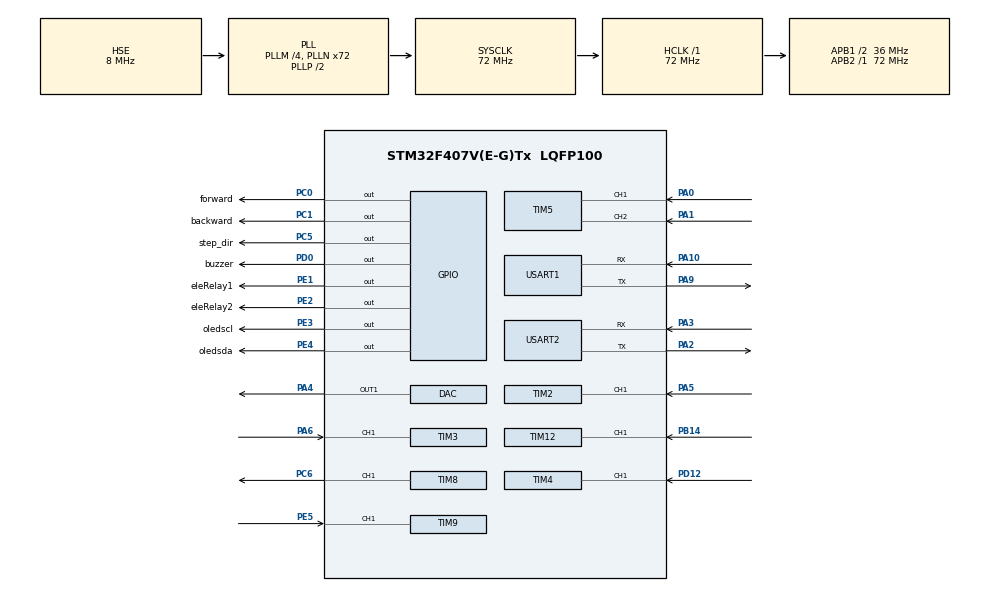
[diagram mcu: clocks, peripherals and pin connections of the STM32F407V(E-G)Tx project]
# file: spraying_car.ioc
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DAC.DAC_OutputBuffer=DAC_OUTPUTBUFFER_DISABLE
DAC.DAC_Trigger=DAC_TRIGGER_NONE
Dma.Request0=USART1_TX
Dma.Request1=USART1_RX
Dma.Request2=USART2_RX
Dma.Request3=USART2_TX
Dma.USART1_RX.1.Direction=DMA_PERIPH_TO_MEMORY
Dma.USART1_RX.1.FIFOMode=DMA_FIFOMODE_DISABLE
Dma.USART1_RX.1.Instance=DMA2_Stream2
Dma.USART1_RX.1.MemDataAlignment=DMA_MDATAALIGN_BYTE
Dma.USART1_RX.1.MemInc=DMA_MINC_ENABLE
Dma.USART1_RX.1.Mode=DMA_NORMAL
Dma.USART1_RX.1.PeriphDataAlignment=DMA_PDATAALIGN_BYTE
Dma.USART1_RX.1.PeriphInc=DMA_PINC_DISABLE
Dma.USART1_RX.1.Priority=DMA_PRIORITY_LOW
Dma.USART1_TX.0.Direction=DMA_MEMORY_TO_PERIPH
Dma.USART1_TX.0.FIFOMode=DMA_FIFOMODE_DISABLE
Dma.USART1_TX.0.Instance=DMA2_Stream7
Dma.USART1_TX.0.MemDataAlignment=DMA_MDATAALIGN_BYTE
Dma.USART1_TX.0.MemInc=DMA_MINC_ENABLE
Dma.USART1_TX.0.Mode=DMA_NORMAL
Dma.USART1_TX.0.PeriphDataAlignment=DMA_PDATAALIGN_BYTE
Dma.USART1_TX.0.PeriphInc=DMA_PINC_DISABLE
Dma.USART1_TX.0.Priority=DMA_PRIORITY_LOW
Dma.USART2_RX.2.Direction=DMA_PERIPH_TO_MEMORY
Dma.USART2_RX.2.FIFOMode=DMA_FIFOMODE_DISABLE
Dma.USART2_RX.2.Instance=DMA1_Stream5
Dma.USART2_RX.2.MemDataAlignment=DMA_MDATAALIGN_BYTE
Dma.USART2_RX.2.MemInc=DMA_MINC_ENABLE
Dma.USART2_RX.2.Mode=DMA_NORMAL
Dma.USART2_RX.2.PeriphDataAlignment=DMA_PDATAALIGN_BYTE
Dma.USART2_RX.2.PeriphInc=DMA_PINC_DISABLE
Dma.USART2_RX.2.Priority=DMA_PRIORITY_LOW
Dma.USART2_TX.3.Direction=DMA_MEMORY_TO_PERIPH
Dma.USART2_TX.3.FIFOMode=DMA_FIFOMODE_DISABLE
Dma.USART2_TX.3.Instance=DMA1_Stream6
Dma.USART2_TX.3.MemDataAlignment=DMA_MDATAALIGN_BYTE
Dma.USART2_TX.3.MemInc=DMA_MINC_ENABLE
Dma.USART2_TX.3.Mode=DMA_NORMAL
Dma.USART2_TX.3.PeriphDataAlignment=DMA_PDATAALIGN_BYTE
Dma.USART2_TX.3.PeriphInc=DMA_PINC_DISABLE
Dma.USART2_TX.3.Priority=DMA_PRIORITY_LOW
Mcu.Family=STM32F4
Mcu.Name=STM32F407V(E-G)Tx
Mcu.Package=LQFP100
NVIC.DMA1_Stream5_IRQn=true\:0\:0\:false\:false\:true\:false\:true\:true
NVIC.DMA1_Stream6_IRQn=true\:0\:0\:false\:false\:true\:false\:true\:true
NVIC.DMA2_Stream2_IRQn=true\:0\:0\:false\:false\:true\:false\:true\:true
NVIC.DMA2_Stream7_IRQn=true\:0\:0\:false\:false\:true\:false\:true\:true
NVIC.PriorityGroup=NVIC_PRIORITYGROUP_4
NVIC.TIM8_CC_IRQn=true\:2\:0\:true\:false\:true\:true\:true\:true
NVIC.TIM8_UP_TIM13_IRQn=true\:2\:0\:true\:false\:true\:true\:true\:true
NVIC.USART1_IRQn=true\:1\:0\:true\:false\:true\:true\:true\:true
NVIC.USART2_IRQn=true\:1\:0\:true\:false\:true\:true\:true\:true
PA0-WKUP.Signal=S_TIM5_CH1
PA1.Signal=S_TIM5_CH2
PA10.Mode=Asynchronous
PA10.Signal=USART1_RX
PA13.Mode=Serial_Wire
PA13.Signal=SYS_JTMS-SWDIO
PA14.Mode=Serial_Wire
PA14.Signal=SYS_JTCK-SWCLK
PA2.Mode=Asynchronous
PA2.Signal=USART2_TX
PA3.Mode=Asynchronous
PA3.Signal=USART2_RX
PA4.Signal=COMP_DAC1_group
PA5.Signal=S_TIM2_CH1_ETR
PA6.Signal=S_TIM3_CH1
PA9.Mode=Asynchronous
PA9.Signal=USART1_TX
PB14.Signal=S_TIM12_CH1
PC0.GPIO_Label=forward
PC0.GPIO_PuPd=GPIO_NOPULL
PC0.PinState=GPIO_PIN_RESET
PC0.Signal=GPIO_Output
PC1.GPIO_Label=backward
PC1.GPIO_ModeDefaultOutputPP=GPIO_MODE_OUTPUT_PP
PC1.Signal=GPIO_Output
PC5.GPIO_Label=step_dir
PC5.Signal=GPIO_Output
PC6.GPIO_Speed=GPIO_SPEED_FREQ_HIGH
PC6.Signal=S_TIM8_CH1
PD0.GPIO_Label=buzzer
PD0.GPIO_PuPd=GPIO_NOPULL
PD0.PinState=GPIO_PIN_SET
PD0.Signal=GPIO_Output
PD12.Signal=S_TIM4_CH1
PE1.GPIO_Label=eleRelay1
PE1.GPIO_PuPd=GPIO_NOPULL
PE1.Signal=GPIO_Output
PE2.GPIO_Label=eleRelay2
PE2.GPIO_ModeDefaultOutputPP=GPIO_MODE_OUTPUT_PP
PE2.GPIO_PuPd=GPIO_NOPULL
PE2.Signal=GPIO_Output
PE3.GPIO_Label=oledscl
PE3.GPIO_ModeDefaultOutputPP=GPIO_MODE_OUTPUT_OD
PE3.GPIO_PuPd=GPIO_NOPULL
PE3.GPIO_Speed=GPIO_SPEED_FREQ_LOW
PE3.PinState=GPIO_PIN_SET
PE3.Signal=GPIO_Output
PE4.GPIO_Label=oledsda
PE4.GPIO_ModeDefaultOutputPP=GPIO_MODE_OUTPUT_OD
PE4.GPIO_PuPd=GPIO_NOPULL
PE4.GPIO_Speed=GPIO_SPEED_FREQ_LOW
PE4.PinState=GPIO_PIN_SET
PE4.Signal=GPIO_Output
PE5.Signal=S_TIM9_CH1
PH0-OSC_IN.Mode=HSE-External-Oscillator
PH0-OSC_IN.Signal=RCC_OSC_IN
PH1-OSC_OUT.Mode=HSE-External-Oscillator
PH1-OSC_OUT.Signal=RCC_OSC_OUT
ProjectManager.HeapSize=0x200
ProjectManager.StackSize=0x400
ProjectManager.TargetToolchain=MDK-ARM V5.32
RCC.48MHZClocksFreq_Value=36000000
RCC.AHBFreq_Value=72000000
RCC.APB1CLKDivider=RCC_HCLK_DIV2
RCC.APB1Freq_Value=36000000
RCC.APB1TimFreq_Value=72000000
RCC.APB2Freq_Value=72000000
RCC.APB2TimFreq_Value=72000000
RCC.CortexFreq_Value=72000000
RCC.EnbaleCSS=true
RCC.HCLKFreq_Value=72000000
RCC.HSE_VALUE=8000000
RCC.HSI_VALUE=16000000
RCC.LSE_VALUE=32768
RCC.PLLM=4
RCC.PLLN=72
RCC.PLLSourceVirtual=RCC_PLLSOURCE_HSE
RCC.SYSCLKFreq_VALUE=72000000
RCC.SYSCLKSource=RCC_SYSCLKSOURCE_PLLCLK
RCC.VCOOutputFreq_Value=144000000
SH.COMP_DAC1_group.0=DAC_OUT1,DAC_OUT1
SH.S_TIM12_CH1.0=TIM12_CH1,TriggerSource_TI1FP1
SH.S_TIM12_CH1.1=TIM12_CH1,Input_Capture1_from_TI1
SH.S_TIM2_CH1_ETR.0=TIM2_CH1,Input_Capture1_from_TI1
SH.S_TIM2_CH1_ETR.1=TIM2_CH1,TriggerSource_TI1FP1
SH.S_TIM3_CH1.0=TIM3_CH1,TriggerSource_TI1FP1
SH.S_TIM3_CH1.1=TIM3_CH1,Input_Capture1_from_TI1
SH.S_TIM4_CH1.0=TIM4_CH1,TriggerSource_TI1FP1
SH.S_TIM4_CH1.1=TIM4_CH1,Input_Capture1_from_TI1
SH.S_TIM5_CH1.0=TIM5_CH1,Encoder_Interface
SH.S_TIM5_CH2.0=TIM5_CH2,Encoder_Interface
SH.S_TIM8_CH1.0=TIM8_CH1,PWM Generation1 CH1
SH.S_TIM9_CH1.0=TIM9_CH1,Input_Capture1_from_TI1
SH.S_TIM9_CH1.1=TIM9_CH1,TriggerSource_TI1FP1
TIM12.AutoReloadPreload=TIM_AUTORELOAD_PRELOAD_ENABLE
TIM12.Channel-Input_Capture1_from_TI1=TIM_CHANNEL_1
TIM12.Channel-Input_Capture2_from_TI1_63=TIM_CHANNEL_2
TIM12.ICPolarity_CH2=TIM_INPUTCHANNELPOLARITY_FALLING
TIM12.Prescaler=71
TIM2.AutoReloadPreload=TIM_AUTORELOAD_PRELOAD_ENABLE
TIM2.Channel-Input_Capture1_from_TI1=TIM_CHANNEL_1
TIM2.Channel-Input_Capture2_from_TI1_63=TIM_CHANNEL_2
TIM2.ICPolarity_CH2=TIM_INPUTCHANNELPOLARITY_FALLING
TIM2.Period=65535
TIM2.Prescaler=71
TIM3.AutoReloadPreload=TIM_AUTORELOAD_PRELOAD_ENABLE
TIM3.Channel-Input_Capture1_from_TI1=TIM_CHANNEL_1
TIM3.Channel-Input_Capture2_from_TI1_63=TIM_CHANNEL_2
TIM3.ICPolarity_CH2=TIM_INPUTCHANNELPOLARITY_FALLING
TIM3.Prescaler=71
TIM4.AutoReloadPreload=TIM_AUTORELOAD_PRELOAD_ENABLE
TIM4.Channel-Input_Capture1_from_TI1=TIM_CHANNEL_1
TIM4.Channel-Input_Capture2_from_TI1_63=TIM_CHANNEL_2
TIM4.ICPolarity_CH2=TIM_INPUTCHANNELPOLARITY_FALLING
TIM4.Prescaler=71
TIM5.EncoderMode=TIM_ENCODERMODE_TI12
TIM5.IC1Filter=15
TIM5.IC2Filter=15
TIM8.AutoReloadPreload=TIM_AUTORELOAD_PRELOAD_ENABLE
TIM8.Channel-PWM\ Generation1\ CH1=TIM_CHANNEL_1
TIM8.Period=50-1
TIM8.Prescaler=72-1
TIM8.Pulse-PWM\ Generation1\ CH1=25-1
TIM8.RepetitionCounter=0
TIM9.AutoReloadPreload=TIM_AUTORELOAD_PRELOAD_ENABLE
TIM9.Channel-Input_Capture1_from_TI1=TIM_CHANNEL_1
TIM9.Channel-Input_Capture2_from_TI1_63=TIM_CHANNEL_2
TIM9.ICPolarity_CH2=TIM_INPUTCHANNELPOLARITY_FALLING
TIM9.Prescaler=71
USART1.VirtualMode=VM_ASYNC
USART2.VirtualMode=VM_ASYNC
VP_TIM12_VS_ClockSourceINT.Mode=Internal
VP_TIM12_VS_ControllerModeReset.Mode=Reset Mode
VP_TIM12_VS_indirect_ch1.Mode=Input_Capture2_from_TI1_63
VP_TIM2_VS_ClockSourceINT.Mode=Internal
VP_TIM2_VS_ControllerModeReset.Mode=Reset Mode
VP_TIM2_VS_indirect_ch1.Mode=Input_Capture2_from_TI1_63
VP_TIM3_VS_ClockSourceINT.Mode=Internal
VP_TIM3_VS_ControllerModeReset.Mode=Reset Mode
VP_TIM3_VS_indirect_ch1.Mode=Input_Capture2_from_TI1_63
VP_TIM4_VS_ClockSourceINT.Mode=Internal
VP_TIM4_VS_ControllerModeReset.Mode=Reset Mode
VP_TIM4_VS_indirect_ch1.Mode=Input_Capture2_from_TI1_63
VP_TIM8_VS_ClockSourceINT.Mode=Internal
VP_TIM9_VS_ClockSourceINT.Mode=Internal
VP_TIM9_VS_ControllerModeReset.Mode=Reset Mode
VP_TIM9_VS_indirect_ch1.Mode=Input_Capture2_from_TI1_63
board=custom

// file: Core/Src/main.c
/* USER CODE BEGIN Header */
/**
  ******************************************************************************
  * @file           : main.c
  * @brief          : Main program body
  ******************************************************************************
  * @attentio n
  *
  * Copyright (c) 2024 STMicroelectronics.
  * All rights reserved.
  *
  * This software is licensed under terms that can be found in the LICENSE file
  * in the root.                                                           directory of this software component.
  * If no LICENSE file comes with this software, it is provided AS-IS.
  *
  ******************************************************************************
  */
/* USER CODE END Header */
#include "main.h"
#include "dac.h"
#include "dma.h"
#include "tim.h"
#include "usart.h"
#include "gpio.h"

/* USER CODE BEGIN Includes */
#include "OLED.h"
#include "Remote_control.h"
#include "car_drive.h"
#include "string.h"
#include "Encoder.h"
#include "turn.h"
#include "upper.h"
/* USER CODE END Includes */

/* USER CODE BEGIN PV */
volatile uint8_t is_open = 0;   // 0: 关闭, 1: 打开
volatile uint8_t CH3,CH4,CH5,CH6,CH7; // 用于存储遥控器的值
volatile int16_t ECD;  // 用于存储编码器的值
uint8_t prev_CH3 = 0, prev_CH4 = 0,prev_CH5 = 0, prev_CH6 = 0,prev_CH7 = 0;     // 用于存储上一次的值
/* USER CODE END PV */

void SystemClock_Config(void);

/* USER CODE BEGIN 0 */
/**
  * @brief  控制继电器和蜂鸣器
  * @param  Gpiox: GPIOx的值
  * @param  GPIO_Pin: GPIO_Pin的值
  * @param  PinState: GPIO_PinState的值
  * @retval None
  */
void handle_relay_and_buzzer(GPIO_TypeDef* GPIOx, uint16_t GPIO_Pin, GPIO_PinState PinState) {
    // 响蜂鸣器加延时，然后控制继电器
    // 这里可以添加蜂鸣器和延时的代码
    HAL_GPIO_WritePin(buzzer_GPIO_Port,buzzer_Pin, GPIO_PIN_RESET);  // 蜂鸣器响
    HAL_Delay(500);  // 延时100ms
    HAL_GPIO_WritePin(buzzer_GPIO_Port,buzzer_Pin, GPIO_PIN_SET);  // 蜂鸣不响
    // 控制继电器的状态
    HAL_GPIO_WritePin(GPIOx, GPIO_Pin, PinState);
}
/**
  * @brief  检查CH3和CH4的值，如果CH3为1且CH4为expected_CH4，则切换继电器状态
  * @param  CH3: CH3的值
  * @param  CH4: CH4的值
  * @param  expected_CH4: CH4的期望值,也就是靠左还是右
  * @param  switchFlag: 用于判断是否长按的计数器
  * @param  is_open: 继电器的状态
  * @retval None
  */
void check_and_toggle_relay(uint8_t expected_CH4, uint8_t* switchFlag, volatile uint8_t* is_open) {
    GPIO_PinState newState;
    CH3 = CH3_GetDuty();  // 获取CH3的值
    CH4 = CH4_GetDuty();  // 获取CH4的值
    if (CH3 == 1 && CH4 == expected_CH4) {
        (*switchFlag)++;
    } else {
        *switchFlag = 0;  // 重置计数器
    }

    if (*switchFlag == 50) {    // 长按2秒
        newState = *is_open ? GPIO_PIN_RESET : GPIO_PIN_SET;
        handle_relay_and_buzzer(eleRelay1_GPIO_Port, eleRelay1_Pin, newState);
        *is_open = !(*is_open);  // 切换状态
        *switchFlag = 0;  // 重置计数器
        }
}

void update_oled_display(uint8_t CH3, uint8_t CH4, uint8_t CH5, uint8_t CH6,uint8_t CH7) {
    if (CH3 != prev_CH3) {
        OLED_ShowNum(24, 0, CH3, 4, OLED_6X8);
        prev_CH3 = CH3;
    }
    if (CH4 != prev_CH4) {
        OLED_ShowNum(24, 8, CH4, 4, OLED_6X8);
        prev_CH4 = CH4;
    }
    if (CH5 != prev_CH5) {
        OLED_ShowNum(24, 16, CH5, 4, OLED_6X8);
        prev_CH5 = CH5;
    }
    if (CH6 != prev_CH6) {
        OLED_ShowNum(24, 24, CH6, 4, OLED_6X8);
        prev_CH6 = CH6;
    }
    if (CH7 != prev_CH7) {
        OLED_ShowNum(24, 32, CH7, 4, OLED_6X8);
        prev_CH7 = CH7;
    }
    OLED_Update();
}
/* USER CODE END 0 */

int main(void)
{

  /* USER CODE BEGIN 1 */
  uint8_t switchFlag = 0;   // 用于判断是否长按

  /* USER CODE END 1 */

  /* MCU Configuration--------------------------------------------------------*/

  /* Reset of all peripherals, Initializes the Flash interface and the Systick. */
  HAL_Init();

  /* Configure the system clock */
  SystemClock_Config();

  /* Initialize all configured peripherals */
  MX_GPIO_Init();
  MX_DMA_Init();
  MX_DAC_Init();
  MX_TIM9_Init();
  MX_TIM12_Init();
  MX_TIM2_Init();
  MX_TIM3_Init();
  MX_USART1_UART_Init();
  MX_USART2_UART_Init();
  MX_TIM4_Init();
  MX_TIM8_Init();
  MX_TIM5_Init();
  /* USER CODE BEGIN 2 */
  // 首先初始化OLED，显示启动信息
  OLED_Init();
  OLED_Clear();
  OLED_ShowString(0, 0, "System Starting...", OLED_6X8);
  OLED_Update();
  HAL_Delay(1000);  // 延时1秒显示启动信息

  Uart_Rxopen(&huart1);  // 重新开启串口接收中断，参数为想要开启的串口号
  // Uart_Rxopen(&huart2);  // 重新开启串口接收中断，参数为想要开启的串口号
  CH_Init();
  Car_Init();   // 初始化小车启动dac
  Encoder_open();  // 初始化编码器
  Step_Motor_Init();  // 初始化步进电机
  upper_init();  // 初始化上位机通信
  __HAL_TIM_SET_COUNTER(&htim5, 0);  //清零编码器值
  /* USER CODE END 2 */

  /* Infinite loop */
  /* USER CODE BEGIN WHILE */
  // OLED_ShowString(0, 0, "CH3:0000", OLED_6X8);  //显示CH3的
  // OLED_ShowString(0, 8, "CH4:0000", OLED_6X8);  //显示CH4的
  // OLED_ShowString(0, 16, "CH5:0000", OLED_6X8);  //显示CH5的
  // OLED_ShowString(0, 24, "CH6:0000", OLED_6X8);  //显示CH6的
  // OLED_ShowString(0, 32, "CH7:0000", OLED_6X8);  //显示CH7的
  // OLED_ShowString(0, 40, "ECD:0000", OLED_6X8);  //显示CH7的
  // OLED_Update();

  while (1)
  {
    // CH3 = CH3_GetDuty();
    // CH4 = CH4_GetDuty();
    // CH5 = CH5_GetDuty();
    // CH6 = CH6_GetDuty();
    // CH7 = CH7_GetDuty();
    // update_oled_display(CH3, CH4, CH5, CH6,CH7);
    //以上为调试程序，实际使用时删掉

    if (is_open == 0) {
        check_and_toggle_relay(1, &switchFlag, &is_open);
    } else {
        check_and_toggle_relay(102, &switchFlag, &is_open);
    }
    direction_control();
    speed_control();
    spray_control();
    // ECD = Get_Encoder_Value();
    // OLED_Printf(0,40,OLED_6X8, "bfECD:%05d", ECD);
    // OLED_Update();
    Step_Motor_Control();
    // ECD = Get_Encoder_Value();
    // OLED_Printf(0,48,OLED_6X8, "atECD:%05d", ECD);
    // OLED_Update();
    /* USER CODE END WHILE */

  }
}

void SystemClock_Config(void)
{
  RCC_OscInitTypeDef RCC_OscInitStruct = {0};
  RCC_ClkInitTypeDef RCC_ClkInitStruct = {0};

  /** Configure the main internal regulator output voltage
  */
  __HAL_RCC_PWR_CLK_ENABLE();
  __HAL_PWR_VOLTAGESCALING_CONFIG(PWR_REGULATOR_VOLTAGE_SCALE1);

  /** Initializes the RCC Oscillators according to the specified parameters
  * in the RCC_OscInitTypeDef structure.
  */
  RCC_OscInitStruct.OscillatorType = RCC_OSCILLATORTYPE_HSE;
  RCC_OscInitStruct.HSEState = RCC_HSE_ON;
  RCC_OscInitStruct.PLL.PLLState = RCC_PLL_ON;
  RCC_OscInitStruct.PLL.PLLSource = RCC_PLLSOURCE_HSE;
  RCC_OscInitStruct.PLL.PLLM = 4;
  RCC_OscInitStruct.PLL.PLLN = 72;
  RCC_OscInitStruct.PLL.PLLP = RCC_PLLP_DIV2;
  RCC_OscInitStruct.PLL.PLLQ = 4;
  if (HAL_RCC_OscConfig(&RCC_OscInitStruct) != HAL_OK)
  {
    Error_Handler();
  }

  /** Initializes the CPU, AHB and APB buses clocks
  */
  RCC_ClkInitStruct.ClockType = RCC_CLOCKTYPE_HCLK|RCC_CLOCKTYPE_SYSCLK
                              |RCC_CLOCKTYPE_PCLK1|RCC_CLOCKTYPE_PCLK2;
  RCC_ClkInitStruct.SYSCLKSource = RCC_SYSCLKSOURCE_PLLCLK;
  RCC_ClkInitStruct.AHBCLKDivider = RCC_SYSCLK_DIV1;
  RCC_ClkInitStruct.APB1CLKDivider = RCC_HCLK_DIV2;
  RCC_ClkInitStruct.APB2CLKDivider = RCC_HCLK_DIV1;

  if (HAL_RCC_ClockConfig(&RCC_ClkInitStruct, FLASH_LATENCY_2) != HAL_OK)
  {
    Error_Handler();
  }

  /** Enables the Clock Security System
  */
  HAL_RCC_EnableCSS();
}

void Error_Handler(void)
{
  __disable_irq();
  while (1)
  {
  }
}
